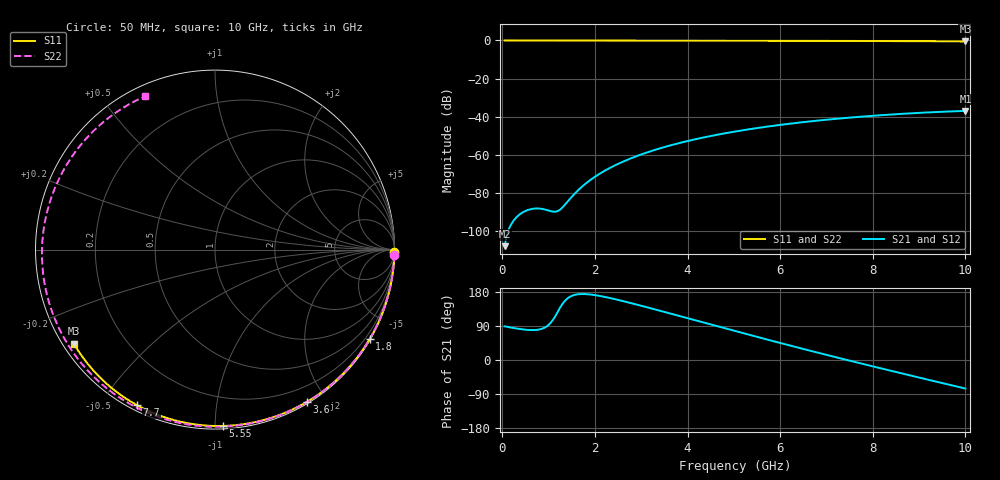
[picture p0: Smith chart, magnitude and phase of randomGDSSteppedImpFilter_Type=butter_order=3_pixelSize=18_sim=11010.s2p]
! freq	dB(S11)	phase(S11)	dB(S12)	phase(S12)
!  dB(S21)	phase(S21)	dB(S22)	phase(S22)
!S-par simulation data
#  GHz  S  DB  R 50
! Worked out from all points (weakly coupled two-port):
!   200 points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, 50 MHz to 10 GHz, reference 50 ohm
!   highest |S21| = -36.98 dB at 10 GHz (marker M1); lowest = -108.0 dB at 50 MHz (marker M2)
!   lowest |S11| = -0.5 dB at 10 GHz (marker M3), VSWR 35.18, Z = 1.55 - j15.1 ohm
!   |S11| at or under -10 dB: nowhere
!   |S22| runs from -0.6 to 0.0 dB; largest |S21 - S12| = 0
!   S11 on the Smith chart (normalised r, x): 50 MHz: open; 1.8 GHz: 0.03, -3.71; 3.6 GHz: 0.02, -1.78; 5.55 GHz: 0.02, -1.04; 7.7 GHz: 0.02, -0.62; 10 GHz: 0.03, -0.30
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0.05  -0.00 -0.9  -107.97 89.0  -107.97 89.0  -0.00 -1.6
0.4  -0.01 -6.8  -90.85 81.4  -90.85 81.4  -0.02 -12.4
0.75  -0.02 -12.7  -88.18 79.5  -88.18 79.5  -0.03 -23.2
1.55  -0.03 -26.0  -80.76 171.4  -80.76 171.4  -0.06 -47.2
1.6  -0.03 -26.9  -79.51 172.8  -79.51 172.8  -0.06 -48.6
1.75  -0.04 -29.3  -76.13 174.1  -76.13 174.1  -0.07 -53.0
1.8  -0.04 -30.1  -75.13 173.9  -75.13 173.9  -0.07 -54.4
2.1  -0.04 -35.0  -69.99 169.2  -69.99 169.2  -0.08 -62.9
2.45  -0.05 -40.7  -65.36 160.0  -65.36 160.0  -0.09 -72.5
2.9  -0.06 -47.9  -60.72 146.3  -60.72 146.3  -0.10 -84.5
3.4  -0.07 -55.7  -56.66 130.1  -56.66 130.1  -0.12 -97.3
3.6  -0.08 -58.8  -55.27 123.5  -55.27 123.5  -0.13 -102.2
4.3  -0.10 -69.4  -51.15 100.3  -51.15 100.3  -0.16 -118.9
5.05  -0.12 -80.4  -47.70 75.6  -47.70 75.6  -0.19 -135.9
5.55  -0.14 -87.5  -45.80 59.3  -45.80 59.3  -0.22 -146.8
6.15  -0.17 -95.9  -43.86 40.1  -43.86 40.1  -0.25 -159.7
6.7  -0.20 -103.4  -42.34 22.9  -42.34 22.9  -0.29 -171.4
7.2  -0.23 -110.1  -41.14 7.4  -41.14 7.4  -0.33 178.0
7.7  -0.27 -116.7  -40.10 -7.8  -40.10 -7.8  -0.37 167.2
8.35  -0.32 -125.1  -38.94 -27.2  -38.94 -27.2  -0.42 153.0
9.15  -0.40 -135.4  -37.82 -50.8  -37.82 -50.8  -0.48 134.8
10  -0.49 -146.4  -36.98 -75.3  -36.98 -75.3  -0.55 114.5
